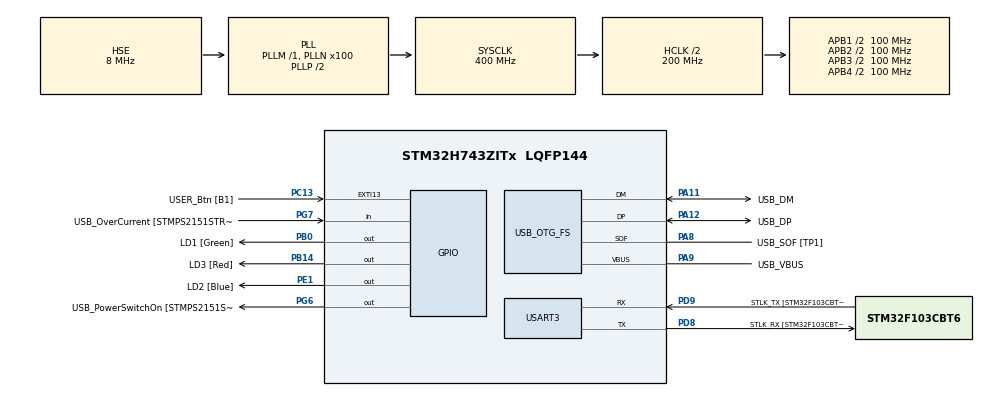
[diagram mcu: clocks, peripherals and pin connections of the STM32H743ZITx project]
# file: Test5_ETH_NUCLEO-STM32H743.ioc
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PB14.GPIO_Label=LD3 [Red]
PG6.GPIO_Label=USB_PowerSwitchOn [STMPS2151STR_EN]
RCC.PLLFRACN=0
CORTEX_M7.TypeExtField-Cortex_Memory_Protection_Unit_Region0_Settings=MPU_TEX_LEVEL1
CORTEX_M7.AccessPermission-Cortex_Memory_Protection_Unit_Region2_Settings=MPU_REGION_FULL_ACCESS
PB13.Signal=ETH_TXD1
PG13.Signal=ETH_TXD0
RCC.SYSCLKSource=RCC_SYSCLKSOURCE_PLLCLK
USART3.VirtualMode-Asynchronous=VM_ASYNC
CORTEX_M7.Enable-Cortex_Memory_Protection_Unit_Region0_Settings=MPU_REGION_ENABLE
CORTEX_M7.IsBufferable-Cortex_Memory_Protection_Unit_Region1_Settings=MPU_ACCESS_NOT_BUFFERABLE
RCC.APB2TimFreq_Value=216000000
PD8.Signal=USART3_TX
PE1.Signal=GPIO_Output
RCC.DIVM1=1
PC4.GPIO_Label=RMII_RXD0
PA8.Signal=USB_OTG_FS_SOF
CORTEX_M7.DisableExec-Cortex_Memory_Protection_Unit_Region1_Settings=MPU_INSTRUCTION_ACCESS_ENABLE
Mcu.Package=LQFP144
PA10.Signal=USB_OTG_FS_ID
PC14-OSC32_IN\ (OSC32_IN).Mode=LSE-External-Oscillator
RCC.APB2CLKDivider=RCC_HCLK_DIV2
RCC.APB4Freq_Value=100000000
RCC.APB1TimFreq_Value=108000000
CORTEX_M7.Enable-Cortex_Memory_Protection_Unit_Region1_Settings=MPU_REGION_ENABLE
PH0-OSC_IN\ (PH0).Mode=HSE-External-Clock-Source
CORTEX_M7.IsBufferable-Cortex_Memory_Protection_Unit_Region0_Settings=MPU_ACCESS_NOT_BUFFERABLE
RCC.DIVQ1=13
PD9.GPIO_Label=STLK_TX [STM32F103CBT6_PA2]
PA9.GPIO_Label=USB_VBUS
PC13.Signal=GPXTI13
CORTEX_M7.IsBufferable-Cortex_Memory_Protection_Unit_Region2_Settings=MPU_ACCESS_BUFFERABLE
PA11.GPIO_Label=USB_DM
RCC.APB1CLKDivider=RCC_HCLK_DIV4
PG13.GPIO_Label=RMII_TXD0
RCC.PWR_Regulator_Voltage_Scale=PWR_REGULATOR_VOLTAGE_SCALE1
PA8.GPIO_Label=USB_SOF [TP1]
PA9.Signal=USB_OTG_FS_VBUS
RCC.DIVN1=100
PB13.GPIO_Speed=GPIO_SPEED_FREQ_VERY_HIGH
CORTEX_M7.BaseAddress-Cortex_Memory_Protection_Unit_Region0_Settings=0x30040000
PD8.Mode=Asynchronous
PB14.Signal=GPIO_Output
CORTEX_M7.Enable-Cortex_Memory_Protection_Unit_Region2_Settings=MPU_REGION_ENABLE
PE1.GPIO_Label=LD2 [Blue]
PA7.GPIO_Speed=GPIO_SPEED_FREQ_VERY_HIGH
RCC.PRESCALERUSB=RCC_USBCLKSOURCE_PLL_DIV1_5
PG7.GPIO_Label=USB_OverCurrent [STMPS2151STR_FAULT]
PA1.GPIO_Label=RMII_REF_CLK
CORTEX_M7.AccessPermission-Cortex_Memory_Protection_Unit_Region0_Settings=MPU_REGION_FULL_ACCESS
PC1.GPIO_Speed=GPIO_SPEED_FREQ_VERY_HIGH
PA11.Signal=USB_OTG_FS_DM
ProjectManager.HeapSize=0x200
NVIC.PriorityGroup=NVIC_PRIORITYGROUP_4
PC5.GPIO_Speed=GPIO_SPEED_FREQ_VERY_HIGH
PA8.Mode=Activate_SOF_FS
PB0.Signal=GPIO_Output
PC1.Signal=ETH_MDC
Mcu.Family=STM32H7
RCC.CortexFreq_Value=400000000
PG6.Signal=GPIO_Output
RCC.HPRE=RCC_HCLK_DIV2
PH0-OSC_IN\ (PH0).Signal=RCC_OSC_IN
PC15-OSC32_OUT\ (OSC32_OUT).Mode=LSE-External-Oscillator
RCC.SYSCLKSourceVirtual=RCC_SYSCLKSOURCE_PLLCLK
PA2.GPIO_Speed=GPIO_SPEED_FREQ_VERY_HIGH
PA11.Mode=Device_Only
PB0.GPIO_Label=LD1 [Green]
PC13.GPIO_Label=USER_Btn [B1]
PB13.GPIO_Label=RMII_TXD1
PD9.Mode=Asynchronous
PG11.Signal=ETH_TX_EN
ProjectManager.StackSize=0x400
PA12.Signal=USB_OTG_FS_DP
RCC.HCLKFreq_Value=200000000
RCC.AHBFreq_Value=216000000
RCC.HSE_VALUE=8000000
CORTEX_M7.Size-Cortex_Memory_Protection_Unit_Region2_Settings=MPU_REGION_SIZE_256B
RCC.PLLMUL=RCC_PLL_MUL9
PG11.GPIO_Speed=GPIO_SPEED_FREQ_VERY_HIGH
PC4.GPIO_Speed=GPIO_SPEED_FREQ_VERY_HIGH
PA10.GPIO_Label=USB_ID
CORTEX_M7.DisableExec-Cortex_Memory_Protection_Unit_Region0_Settings=MPU_INSTRUCTION_ACCESS_ENABLE
RCC.APB3Freq_Value=100000000
RCC.D1PPRE=RCC_APB3_DIV2
CORTEX_M7.BaseAddress-Cortex_Memory_Protection_Unit_Region1_Settings=0x30044000
PA2.GPIO_Label=RMII_MDIO
USB_OTG_FS.VirtualMode=Device_Only
CORTEX_M7.Size-Cortex_Memory_Protection_Unit_Region1_Settings=MPU_REGION_SIZE_16KB
PG11.GPIO_Label=RMII_TX_EN
PG13.GPIO_Speed=GPIO_SPEED_FREQ_VERY_HIGH
PC5.Signal=ETH_RXD1
CORTEX_M7.IsShareable-Cortex_Memory_Protection_Unit_Region1_Settings=MPU_ACCESS_NOT_SHAREABLE
CORTEX_M7.CPU_ICache=Enabled
PG7.Signal=GPIO_Input
PC4.Signal=ETH_RXD0
RCC.D2PPRE2=RCC_APB2_DIV2
RCC.D2PPRE1=RCC_APB1_DIV2
PD9.Signal=USART3_RX
CORTEX_M7.BaseAddress-Cortex_Memory_Protection_Unit_Region2_Settings=0x30040000
PA12.GPIO_Label=USB_DP
PH1-OSC_OUT\ (PH1).Signal=RCC_OSC_OUT
PD8.GPIO_Label=STLK_RX [STM32F103CBT6_PA3]
CORTEX_M7.MPU_Control=MPU_PRIVILEGED_DEFAULT
PA9.Mode=Activate_VBUS
ProjectManager.TargetToolchain=STM32CubeIDE
PC15-OSC32_OUT\ (OSC32_OUT).Signal=RCC_OSC32_OUT
RCC.USBFreq_Value=61538461.538461536
PA1.Signal=ETH_REF_CLK
board=NUCLEO-H743ZI
RCC.VCOOutputFreq_Value=432000000
RCC.APB2Freq_Value=100000000
PA1.GPIO_Speed=GPIO_SPEED_FREQ_VERY_HIGH
CORTEX_M7.IsShareable-Cortex_Memory_Protection_Unit_Region0_Settings=MPU_ACCESS_NOT_SHAREABLE
RCC.ADCFreq_Value=16125000
PC1.GPIO_Label=RMII_MDC
Mcu.Name=STM32H743ZITx
CORTEX_M7.Size-Cortex_Memory_Protection_Unit_Region0_Settings=MPU_REGION_SIZE_16KB
CORTEX_M7.AccessPermission-Cortex_Memory_Protection_Unit_Region1_Settings=MPU_REGION_FULL_ACCESS
PA2.Signal=ETH_MDIO
CORTEX_M7.IsCacheable-Cortex_Memory_Protection_Unit_Region1_Settings=MPU_ACCESS_CACHEABLE
RCC.48MHZClocksFreq_Value=24000000
RCC.SYSCLKFreq_VALUE=400000000
PA7.GPIO_Label=RMII_CRS_DV
PA12.Mode=Device_Only
PC14-OSC32_IN\ (OSC32_IN).Signal=RCC_OSC32_IN
PC5.GPIO_Label=RMII_RXD1
RCC.HSI_VALUE=64000000
RCC.PLLQ=9
PH0-OSC_IN\ (PH0).GPIO_Label=MCO
RCC.PLLM=25
RCC.PLLN=432
RCC.D3PPRE=RCC_APB4_DIV2
CORTEX_M7.CPU_DCache=Enabled
RCC.APB1Freq_Value=100000000
PA7.Signal=ETH_CRS_DV

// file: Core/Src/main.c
/* USER CODE BEGIN Header */
/**
  ******************************************************************************
  * @file           : main.c
  * @brief          : Main program body
  ******************************************************************************
  * @attention
  *
  * <h2><center>&copy; Copyright (c) 2021 STMicroelectronics.
  * All rights reserved.</center></h2>
  *
  * This software component is licensed by ST under Ultimate Liberty license
  * SLA0044, the "License"; You may not use this file except in compliance with
  * the License. You may obtain a copy of the License at:
  *                             www.st.com/SLA0044
  *
  ******************************************************************************
  */
/* USER CODE END Header */
#include "main.h"

/* USER CODE BEGIN Includes */
//#include "tcp_echoserver.h"
/* USER CODE END Includes */

/* USER CODE BEGIN PD */
#define ELEMS(p) (sizeof(p)/sizeof(p[0]))
/* USER CODE END PD */

UART_HandleTypeDef huart3;

PCD_HandleTypeDef hpcd_USB_OTG_FS;

/* USER CODE BEGIN PV */

volatile unsigned long int Licznikms;
volatile uint16_t Timer_sys[6];
volatile unsigned long int uwTickms;
volatile unsigned int Tickms;
//volatile unsigned long int Ticks;
volatile unsigned long int g_COUNT_SEC;

/* USER CODE END PV */

void SystemClock_Config(void);
static void MPU_Config(void);
static void MX_GPIO_Init(void);
static void MX_USART3_UART_Init(void);
static void MX_USB_OTG_FS_PCD_Init(void);

int main(void)
{

  /* MPU Configuration--------------------------------------------------------*/
  MPU_Config();

  /* Enable I-Cache---------------------------------------------------------*/
  SCB_EnableICache();

  /* Enable D-Cache---------------------------------------------------------*/
  SCB_EnableDCache();

  /* MCU Configuration--------------------------------------------------------*/

  /* Reset of all peripherals, Initializes the Flash interface and the Systick. */
  HAL_Init();

  /* Configure the system clock */
  SystemClock_Config();

  /* Initialize all configured peripherals */
  MX_GPIO_Init();
  MX_USART3_UART_Init();
  MX_USB_OTG_FS_PCD_Init();
  /* USER CODE BEGIN 2 */
  //tcp_echoserver_init();
  //http_server_init();
  /* USER CODE END 2 */

  /* Infinite loop */
  while (1)
  {

    /* USER CODE BEGIN 3 */

	   if (Timer_sys[1] == 0)
	  {
		 Timer_sys[1] = 200;
		 HAL_GPIO_TogglePin(LD2_GPIO_Port,LD2_Pin);
	  }
	  //MX_LWIP_Process();
  }
  /* USER CODE END 3 */
}

void SystemClock_Config(void)
{
  RCC_OscInitTypeDef RCC_OscInitStruct = {0};
  RCC_ClkInitTypeDef RCC_ClkInitStruct = {0};

  /** Supply configuration update enable
  */
  HAL_PWREx_ConfigSupply(PWR_LDO_SUPPLY);
  /** Configure the main internal regulator output voltage
  */
  __HAL_PWR_VOLTAGESCALING_CONFIG(PWR_REGULATOR_VOLTAGE_SCALE1);

  while(!__HAL_PWR_GET_FLAG(PWR_FLAG_VOSRDY)) {}
  /** Initializes the RCC Oscillators according to the specified parameters
  * in the RCC_OscInitTypeDef structure.
  */
  RCC_OscInitStruct.OscillatorType = RCC_OSCILLATORTYPE_HSE;
  RCC_OscInitStruct.HSEState = RCC_HSE_BYPASS;
  RCC_OscInitStruct.PLL.PLLState = RCC_PLL_ON;
  RCC_OscInitStruct.PLL.PLLSource = RCC_PLLSOURCE_HSE;
  RCC_OscInitStruct.PLL.PLLM = 1;
  RCC_OscInitStruct.PLL.PLLN = 100;
  RCC_OscInitStruct.PLL.PLLP = 2;
  RCC_OscInitStruct.PLL.PLLQ = 13;
  RCC_OscInitStruct.PLL.PLLR = 2;
  RCC_OscInitStruct.PLL.PLLRGE = RCC_PLL1VCIRANGE_3;
  RCC_OscInitStruct.PLL.PLLVCOSEL = RCC_PLL1VCOWIDE;
  RCC_OscInitStruct.PLL.PLLFRACN = 0;
  if (HAL_RCC_OscConfig(&RCC_OscInitStruct) != HAL_OK)
  {
    Error_Handler();
  }
  /** Initializes the CPU, AHB and APB buses clocks
  */
  RCC_ClkInitStruct.ClockType = RCC_CLOCKTYPE_HCLK|RCC_CLOCKTYPE_SYSCLK
                              |RCC_CLOCKTYPE_PCLK1|RCC_CLOCKTYPE_PCLK2
                              |RCC_CLOCKTYPE_D3PCLK1|RCC_CLOCKTYPE_D1PCLK1;
  RCC_ClkInitStruct.SYSCLKSource = RCC_SYSCLKSOURCE_PLLCLK;
  RCC_ClkInitStruct.SYSCLKDivider = RCC_SYSCLK_DIV1;
  RCC_ClkInitStruct.AHBCLKDivider = RCC_HCLK_DIV2;
  RCC_ClkInitStruct.APB3CLKDivider = RCC_APB3_DIV2;
  RCC_ClkInitStruct.APB1CLKDivider = RCC_APB1_DIV2;
  RCC_ClkInitStruct.APB2CLKDivider = RCC_APB2_DIV2;
  RCC_ClkInitStruct.APB4CLKDivider = RCC_APB4_DIV2;

  if (HAL_RCC_ClockConfig(&RCC_ClkInitStruct, FLASH_LATENCY_2) != HAL_OK)
  {
    Error_Handler();
  }
}

static void MX_USART3_UART_Init(void)
{

  huart3.Instance = USART3;
  huart3.Init.BaudRate = 115200;
  huart3.Init.WordLength = UART_WORDLENGTH_8B;
  huart3.Init.StopBits = UART_STOPBITS_1;
  huart3.Init.Parity = UART_PARITY_NONE;
  huart3.Init.Mode = UART_MODE_TX_RX;
  huart3.Init.HwFlowCtl = UART_HWCONTROL_NONE;
  huart3.Init.OverSampling = UART_OVERSAMPLING_16;
  huart3.Init.OneBitSampling = UART_ONE_BIT_SAMPLE_DISABLE;
  huart3.Init.ClockPrescaler = UART_PRESCALER_DIV1;
  huart3.AdvancedInit.AdvFeatureInit = UART_ADVFEATURE_NO_INIT;
  if (HAL_UART_Init(&huart3) != HAL_OK)
  {
    Error_Handler();
  }
  if (HAL_UARTEx_SetTxFifoThreshold(&huart3, UART_TXFIFO_THRESHOLD_1_8) != HAL_OK)
  {
    Error_Handler();
  }
  if (HAL_UARTEx_SetRxFifoThreshold(&huart3, UART_RXFIFO_THRESHOLD_1_8) != HAL_OK)
  {
    Error_Handler();
  }
  if (HAL_UARTEx_DisableFifoMode(&huart3) != HAL_OK)
  {
    Error_Handler();
  }

}

static void MX_USB_OTG_FS_PCD_Init(void)
{

  hpcd_USB_OTG_FS.Instance = USB_OTG_FS;
  hpcd_USB_OTG_FS.Init.dev_endpoints = 9;
  hpcd_USB_OTG_FS.Init.speed = PCD_SPEED_FULL;
  hpcd_USB_OTG_FS.Init.dma_enable = DISABLE;
  hpcd_USB_OTG_FS.Init.phy_itface = PCD_PHY_EMBEDDED;
  hpcd_USB_OTG_FS.Init.Sof_enable = ENABLE;
  hpcd_USB_OTG_FS.Init.low_power_enable = DISABLE;
  hpcd_USB_OTG_FS.Init.lpm_enable = DISABLE;
  hpcd_USB_OTG_FS.Init.battery_charging_enable = ENABLE;
  hpcd_USB_OTG_FS.Init.vbus_sensing_enable = ENABLE;
  hpcd_USB_OTG_FS.Init.use_dedicated_ep1 = DISABLE;
  if (HAL_PCD_Init(&hpcd_USB_OTG_FS) != HAL_OK)
  {
    Error_Handler();
  }

}

static void MX_GPIO_Init(void)
{
  GPIO_InitTypeDef GPIO_InitStruct = {0};

  /* GPIO Ports Clock Enable */
  __HAL_RCC_GPIOC_CLK_ENABLE();
  __HAL_RCC_GPIOH_CLK_ENABLE();
  __HAL_RCC_GPIOA_CLK_ENABLE();
  __HAL_RCC_GPIOB_CLK_ENABLE();
  __HAL_RCC_GPIOD_CLK_ENABLE();
  __HAL_RCC_GPIOG_CLK_ENABLE();
  __HAL_RCC_GPIOE_CLK_ENABLE();

  /*Configure GPIO pin Output Level */
  HAL_GPIO_WritePin(GPIOB, LD1_Pin|LD3_Pin, GPIO_PIN_RESET);

  /*Configure GPIO pin Output Level */
  HAL_GPIO_WritePin(USB_PowerSwitchOn_GPIO_Port, USB_PowerSwitchOn_Pin, GPIO_PIN_RESET);

  /*Configure GPIO pin Output Level */
  HAL_GPIO_WritePin(LD2_GPIO_Port, LD2_Pin, GPIO_PIN_RESET);

  /*Configure GPIO pin : USER_Btn_Pin */
  GPIO_InitStruct.Pin = USER_Btn_Pin;
  GPIO_InitStruct.Mode = GPIO_MODE_IT_RISING;
  GPIO_InitStruct.Pull = GPIO_NOPULL;
  HAL_GPIO_Init(USER_Btn_GPIO_Port, &GPIO_InitStruct);

  /*Configure GPIO pins : RMII_MDC_Pin RMII_RXD0_Pin RMII_RXD1_Pin */
  GPIO_InitStruct.Pin = RMII_MDC_Pin|RMII_RXD0_Pin|RMII_RXD1_Pin;
  GPIO_InitStruct.Mode = GPIO_MODE_AF_PP;
  GPIO_InitStruct.Pull = GPIO_NOPULL;
  GPIO_InitStruct.Speed = GPIO_SPEED_FREQ_VERY_HIGH;
  GPIO_InitStruct.Alternate = GPIO_AF11_ETH;
  HAL_GPIO_Init(GPIOC, &GPIO_InitStruct);

  /*Configure GPIO pins : RMII_REF_CLK_Pin RMII_MDIO_Pin RMII_CRS_DV_Pin */
  GPIO_InitStruct.Pin = RMII_REF_CLK_Pin|RMII_MDIO_Pin|RMII_CRS_DV_Pin;
  GPIO_InitStruct.Mode = GPIO_MODE_AF_PP;
  GPIO_InitStruct.Pull = GPIO_NOPULL;
  GPIO_InitStruct.Speed = GPIO_SPEED_FREQ_VERY_HIGH;
  GPIO_InitStruct.Alternate = GPIO_AF11_ETH;
  HAL_GPIO_Init(GPIOA, &GPIO_InitStruct);

  /*Configure GPIO pins : LD1_Pin LD3_Pin */
  GPIO_InitStruct.Pin = LD1_Pin|LD3_Pin;
  GPIO_InitStruct.Mode = GPIO_MODE_OUTPUT_PP;
  GPIO_InitStruct.Pull = GPIO_NOPULL;
  GPIO_InitStruct.Speed = GPIO_SPEED_FREQ_LOW;
  HAL_GPIO_Init(GPIOB, &GPIO_InitStruct);

  /*Configure GPIO pin : RMII_TXD1_Pin */
  GPIO_InitStruct.Pin = RMII_TXD1_Pin;
  GPIO_InitStruct.Mode = GPIO_MODE_AF_PP;
  GPIO_InitStruct.Pull = GPIO_NOPULL;
  GPIO_InitStruct.Speed = GPIO_SPEED_FREQ_VERY_HIGH;
  GPIO_InitStruct.Alternate = GPIO_AF11_ETH;
  HAL_GPIO_Init(RMII_TXD1_GPIO_Port, &GPIO_InitStruct);

  /*Configure GPIO pin : USB_PowerSwitchOn_Pin */
  GPIO_InitStruct.Pin = USB_PowerSwitchOn_Pin;
  GPIO_InitStruct.Mode = GPIO_MODE_OUTPUT_PP;
  GPIO_InitStruct.Pull = GPIO_NOPULL;
  GPIO_InitStruct.Speed = GPIO_SPEED_FREQ_LOW;
  HAL_GPIO_Init(USB_PowerSwitchOn_GPIO_Port, &GPIO_InitStruct);

  /*Configure GPIO pin : USB_OverCurrent_Pin */
  GPIO_InitStruct.Pin = USB_OverCurrent_Pin;
  GPIO_InitStruct.Mode = GPIO_MODE_INPUT;
  GPIO_InitStruct.Pull = GPIO_NOPULL;
  HAL_GPIO_Init(USB_OverCurrent_GPIO_Port, &GPIO_InitStruct);

  /*Configure GPIO pins : RMII_TX_EN_Pin RMII_TXD0_Pin */
  GPIO_InitStruct.Pin = RMII_TX_EN_Pin|RMII_TXD0_Pin;
  GPIO_InitStruct.Mode = GPIO_MODE_AF_PP;
  GPIO_InitStruct.Pull = GPIO_NOPULL;
  GPIO_InitStruct.Speed = GPIO_SPEED_FREQ_VERY_HIGH;
  GPIO_InitStruct.Alternate = GPIO_AF11_ETH;
  HAL_GPIO_Init(GPIOG, &GPIO_InitStruct);

  /*Configure GPIO pin : LD2_Pin */
  GPIO_InitStruct.Pin = LD2_Pin;
  GPIO_InitStruct.Mode = GPIO_MODE_OUTPUT_PP;
  GPIO_InitStruct.Pull = GPIO_NOPULL;
  GPIO_InitStruct.Speed = GPIO_SPEED_FREQ_LOW;
  HAL_GPIO_Init(LD2_GPIO_Port, &GPIO_InitStruct);

}

/* USER CODE BEGIN 4 */

void HAL_SYSTICK_Callback(void)
{
	uint16_t t_timer;
	uint8_t i;

	Licznikms++;                        /* increment counter necessary in Delay() */
	uwTickms++;
	Tickms++;

	if (Tickms >= 1000)
	{
		Tickms = 0;
		//Ticks++;
		g_COUNT_SEC++;
	}

	// obsluga timerow systemowych
	for (i = 0; i< ELEMS(Timer_sys); i++)
	{
		t_timer = Timer_sys[i];
		if (t_timer) Timer_sys[i] = --t_timer;

	}
}

/* USER CODE END 4 */

/* MPU Configuration */

void MPU_Config(void)
{
  MPU_Region_InitTypeDef MPU_InitStruct = {0};

  /* Disables the MPU */
  HAL_MPU_Disable();
  /** Initializes and configures the Region and the memory to be protected
  */
  MPU_InitStruct.Enable = MPU_REGION_ENABLE;
  MPU_InitStruct.Number = MPU_REGION_NUMBER0;
  MPU_InitStruct.BaseAddress = 0x30040000;
  MPU_InitStruct.Size = MPU_REGION_SIZE_16KB;
  MPU_InitStruct.SubRegionDisable = 0x0;
  MPU_InitStruct.TypeExtField = MPU_TEX_LEVEL1;
  MPU_InitStruct.AccessPermission = MPU_REGION_FULL_ACCESS;
  MPU_InitStruct.DisableExec = MPU_INSTRUCTION_ACCESS_ENABLE;
  MPU_InitStruct.IsShareable = MPU_ACCESS_NOT_SHAREABLE;
  MPU_InitStruct.IsCacheable = MPU_ACCESS_NOT_CACHEABLE;
  MPU_InitStruct.IsBufferable = MPU_ACCESS_NOT_BUFFERABLE;

  HAL_MPU_ConfigRegion(&MPU_InitStruct);
  /** Initializes and configures the Region and the memory to be protected
  */
  MPU_InitStruct.Number = MPU_REGION_NUMBER1;
  MPU_InitStruct.BaseAddress = 0x30044000;
  MPU_InitStruct.TypeExtField = MPU_TEX_LEVEL0;
  MPU_InitStruct.IsCacheable = MPU_ACCESS_CACHEABLE;

  HAL_MPU_ConfigRegion(&MPU_InitStruct);
  /** Initializes and configures the Region and the memory to be protected
  */
  MPU_InitStruct.Number = MPU_REGION_NUMBER2;
  MPU_InitStruct.BaseAddress = 0x30040000;
  MPU_InitStruct.Size = MPU_REGION_SIZE_256B;
  MPU_InitStruct.IsCacheable = MPU_ACCESS_NOT_CACHEABLE;
  MPU_InitStruct.IsBufferable = MPU_ACCESS_BUFFERABLE;

  HAL_MPU_ConfigRegion(&MPU_InitStruct);
  /* Enables the MPU */
  HAL_MPU_Enable(MPU_PRIVILEGED_DEFAULT);

}

void Error_Handler(void)
{
  __disable_irq();
  while (1)
  {
  }
}

/************************ (C) COPYRIGHT STMicroelectronics *****END OF FILE****/
